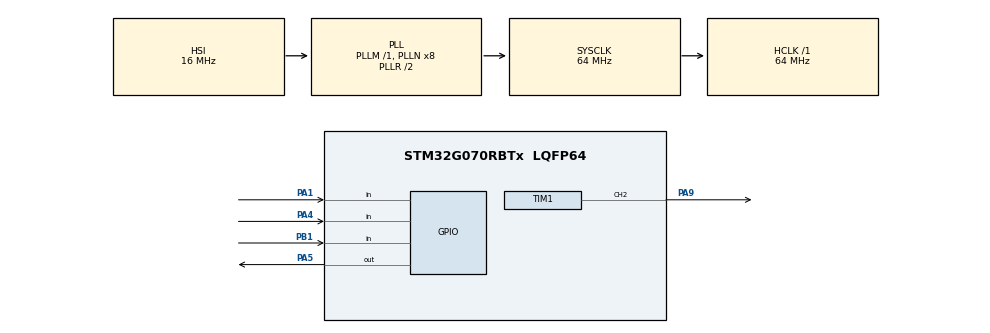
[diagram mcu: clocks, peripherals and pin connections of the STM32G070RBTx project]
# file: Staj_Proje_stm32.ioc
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Mcu.Family=STM32G0
Mcu.Name=STM32G070RBTx
Mcu.Package=LQFP64
PA1.GPIO_PuPd=GPIO_PULLUP
PA1.Signal=GPIO_Input
PA4.GPIO_PuPd=GPIO_PULLUP
PA4.Signal=GPIO_Input
PA5.Signal=GPIO_Output
PA9.Signal=S_TIM1_CH2
PB1.GPIO_PuPd=GPIO_PULLUP
PB1.Signal=GPIO_Input
ProjectManager.HeapSize=0x200
ProjectManager.StackSize=0x400
ProjectManager.TargetToolchain=STM32CubeIDE
RCC.ADCFreq_Value=64000000
RCC.AHBFreq_Value=64000000
RCC.CortexFreq_Value=64000000
RCC.EXTERNAL_CLOCK_VALUE=48000
RCC.HCLKFreq_Value=64000000
RCC.HSE_VALUE=8000000
RCC.HSI_VALUE=16000000
RCC.LSE_VALUE=32768
RCC.SYSCLKFreq_VALUE=64000000
RCC.SYSCLKSource=RCC_SYSCLKSOURCE_PLLCLK
RCC.VCOOutputFreq_Value=128000000
SH.S_TIM1_CH2.0=TIM1_CH2,PWM Generation2 CH2
TIM1.Channel-PWM\ Generation2\ CH2=TIM_CHANNEL_2
TIM1.Period=1000-1
TIM1.Prescaler=64000-1
TIM1.Pulse-PWM\ Generation2\ CH2=(1000-1)/2
VP_TIM1_VS_ClockSourceINT.Mode=Internal
board=custom

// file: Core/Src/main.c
/* USER CODE BEGIN Header */
/**
  ******************************************************************************
  * @file           : main.c
  * @brief          : Main program body
  ******************************************************************************
  * @attention
  *
  * Copyright (c) 2024 STMicroelectronics.
  * All rights reserved.
  *
  * This software is licensed under terms that can be found in the LICENSE file
  * in the root directory of this software component.
  * If no LICENSE file comes with this software, it is provided AS-IS.
  *
  ******************************************************************************
  */
/* USER CODE END Header */
#include "main.h"

/* USER CODE BEGIN Includes */
#define Max_Period 1000
#define Min_Period 50
#define Period_azaltma 50
/* USER CODE END Includes */

TIM_HandleTypeDef htim1;

/* USER CODE BEGIN PV */
//uint32_t period = Max_Period;

/* USER CODE END PV */

void SystemClock_Config(void);
static void MX_GPIO_Init(void);
static void MX_TIM1_Init(void);
/* USER CODE BEGIN PFP */
void Set_PWM_Period(uint32_t new_period);

/* USER CODE END PFP */

/* USER CODE BEGIN 0 */
uint32_t period = Max_Period;
uint32_t butonState;
uint32_t butonState2;
uint32_t butonReset;

/* USER CODE END 0 */

int main(void)
{

  /* MCU Configuration--------------------------------------------------------*/

  /* Reset of all peripherals, Initializes the Flash interface and the Systick. */
  HAL_Init();

  /* Configure the system clock */
  SystemClock_Config();

  /* Initialize all configured peripherals */
  MX_GPIO_Init();
  MX_TIM1_Init();
  /* USER CODE BEGIN 2 */
  //uint16_t duty_cycle=0;
  HAL_TIM_PWM_Start(&htim1, TIM_CHANNEL_2);
  Set_PWM_Period(period);

  /* USER CODE END 2 */

  /* Infinite loop */
  while (1)
  {

    /* USER CODE BEGIN 3 */
	  /*__HAL_TIM_SET_COMPARE(&htim1,TIM_CHANNEL_2,duty_cycle);
	  duty_cycle +=100;
	  if(duty_cycle ==6400)
	  {
		  duty_cycle =0;

	  }
	  HAL_Delay(10);*/

	  butonState2=HAL_GPIO_ReadPin(GPIOA, GPIO_PIN_4);
	  butonState=HAL_GPIO_ReadPin(GPIOA, GPIO_PIN_1);
	  butonReset=HAL_GPIO_ReadPin(GPIOB, GPIO_PIN_1);
	    if(butonState==0)
	    {
	    	HAL_Delay(40);
	    	if(butonState==0)
	    	{
	    		period-=Period_azaltma;

	    		Set_PWM_Period(period);

	    	}
	    	HAL_Delay(120);
	    }

	    else if(butonState2==0)
	    {
	    	HAL_Delay(40);
	    	if(butonState2==0)
	    	{
	    		period+=Period_azaltma;
	    		if(period>Max_Period)
	    		{
	    			period=Max_Period;

	    		}
		    	Set_PWM_Period(period);

	    	}
	    	HAL_Delay(120);

	    }
	    else if (butonReset == 0)
	    {
	        HAL_Delay(40); // Debouncing
	        if (HAL_GPIO_ReadPin(GPIOB, GPIO_PIN_1) == 0)
	        {
	        	NVIC_SystemReset();
	        }
	        HAL_Delay(125); // Ekstra gecikme
	    }

	    HAL_Delay(10);

  }
  /* USER CODE END 3 */
}

void SystemClock_Config(void)
{
  RCC_OscInitTypeDef RCC_OscInitStruct = {0};
  RCC_ClkInitTypeDef RCC_ClkInitStruct = {0};

  /** Configure the main internal regulator output voltage
  */
  HAL_PWREx_ControlVoltageScaling(PWR_REGULATOR_VOLTAGE_SCALE1);

  /** Initializes the RCC Oscillators according to the specified parameters
  * in the RCC_OscInitTypeDef structure.
  */
  RCC_OscInitStruct.OscillatorType = RCC_OSCILLATORTYPE_HSI;
  RCC_OscInitStruct.HSIState = RCC_HSI_ON;
  RCC_OscInitStruct.HSIDiv = RCC_HSI_DIV1;
  RCC_OscInitStruct.HSICalibrationValue = RCC_HSICALIBRATION_DEFAULT;
  RCC_OscInitStruct.PLL.PLLState = RCC_PLL_ON;
  RCC_OscInitStruct.PLL.PLLSource = RCC_PLLSOURCE_HSI;
  RCC_OscInitStruct.PLL.PLLM = RCC_PLLM_DIV1;
  RCC_OscInitStruct.PLL.PLLN = 8;
  RCC_OscInitStruct.PLL.PLLP = RCC_PLLP_DIV2;
  RCC_OscInitStruct.PLL.PLLR = RCC_PLLR_DIV2;
  if (HAL_RCC_OscConfig(&RCC_OscInitStruct) != HAL_OK)
  {
    Error_Handler();
  }

  /** Initializes the CPU, AHB and APB buses clocks
  */
  RCC_ClkInitStruct.ClockType = RCC_CLOCKTYPE_HCLK|RCC_CLOCKTYPE_SYSCLK
                              |RCC_CLOCKTYPE_PCLK1;
  RCC_ClkInitStruct.SYSCLKSource = RCC_SYSCLKSOURCE_PLLCLK;
  RCC_ClkInitStruct.AHBCLKDivider = RCC_SYSCLK_DIV1;
  RCC_ClkInitStruct.APB1CLKDivider = RCC_HCLK_DIV1;

  if (HAL_RCC_ClockConfig(&RCC_ClkInitStruct, FLASH_LATENCY_2) != HAL_OK)
  {
    Error_Handler();
  }
}

static void MX_TIM1_Init(void)
{

  TIM_ClockConfigTypeDef sClockSourceConfig = {0};
  TIM_MasterConfigTypeDef sMasterConfig = {0};
  TIM_OC_InitTypeDef sConfigOC = {0};
  TIM_BreakDeadTimeConfigTypeDef sBreakDeadTimeConfig = {0};

  htim1.Instance = TIM1;
  htim1.Init.Prescaler = 64000-1;
  htim1.Init.CounterMode = TIM_COUNTERMODE_UP;
  htim1.Init.Period = 1000-1;
  htim1.Init.ClockDivision = TIM_CLOCKDIVISION_DIV1;
  htim1.Init.RepetitionCounter = 0;
  htim1.Init.AutoReloadPreload = TIM_AUTORELOAD_PRELOAD_DISABLE;
  if (HAL_TIM_Base_Init(&htim1) != HAL_OK)
  {
    Error_Handler();
  }
  sClockSourceConfig.ClockSource = TIM_CLOCKSOURCE_INTERNAL;
  if (HAL_TIM_ConfigClockSource(&htim1, &sClockSourceConfig) != HAL_OK)
  {
    Error_Handler();
  }
  if (HAL_TIM_PWM_Init(&htim1) != HAL_OK)
  {
    Error_Handler();
  }
  sMasterConfig.MasterOutputTrigger = TIM_TRGO_RESET;
  sMasterConfig.MasterOutputTrigger2 = TIM_TRGO2_RESET;
  sMasterConfig.MasterSlaveMode = TIM_MASTERSLAVEMODE_DISABLE;
  if (HAL_TIMEx_MasterConfigSynchronization(&htim1, &sMasterConfig) != HAL_OK)
  {
    Error_Handler();
  }
  sConfigOC.OCMode = TIM_OCMODE_PWM1;
  sConfigOC.Pulse = (1000-1)/2;
  sConfigOC.OCPolarity = TIM_OCPOLARITY_HIGH;
  sConfigOC.OCNPolarity = TIM_OCNPOLARITY_HIGH;
  sConfigOC.OCFastMode = TIM_OCFAST_DISABLE;
  sConfigOC.OCIdleState = TIM_OCIDLESTATE_RESET;
  sConfigOC.OCNIdleState = TIM_OCNIDLESTATE_RESET;
  if (HAL_TIM_PWM_ConfigChannel(&htim1, &sConfigOC, TIM_CHANNEL_2) != HAL_OK)
  {
    Error_Handler();
  }
  sBreakDeadTimeConfig.OffStateRunMode = TIM_OSSR_DISABLE;
  sBreakDeadTimeConfig.OffStateIDLEMode = TIM_OSSI_DISABLE;
  sBreakDeadTimeConfig.LockLevel = TIM_LOCKLEVEL_OFF;
  sBreakDeadTimeConfig.DeadTime = 0;
  sBreakDeadTimeConfig.BreakState = TIM_BREAK_DISABLE;
  sBreakDeadTimeConfig.BreakPolarity = TIM_BREAKPOLARITY_HIGH;
  sBreakDeadTimeConfig.BreakFilter = 0;
  sBreakDeadTimeConfig.BreakAFMode = TIM_BREAK_AFMODE_INPUT;
  sBreakDeadTimeConfig.Break2State = TIM_BREAK2_DISABLE;
  sBreakDeadTimeConfig.Break2Polarity = TIM_BREAK2POLARITY_HIGH;
  sBreakDeadTimeConfig.Break2Filter = 0;
  sBreakDeadTimeConfig.Break2AFMode = TIM_BREAK_AFMODE_INPUT;
  sBreakDeadTimeConfig.AutomaticOutput = TIM_AUTOMATICOUTPUT_DISABLE;
  if (HAL_TIMEx_ConfigBreakDeadTime(&htim1, &sBreakDeadTimeConfig) != HAL_OK)
  {
    Error_Handler();
  }
  /* USER CODE BEGIN TIM1_Init 2 */
  HAL_TIM_Base_Start(&htim1);
  HAL_TIM_PWM_Start(&htim1, TIM_CHANNEL_2);
  //__HAL_TIM_SET_COMPARE(&htim1, TIM_CHANNEL_2,500);
  /* USER CODE END TIM1_Init 2 */
  HAL_TIM_MspPostInit(&htim1);

}

static void MX_GPIO_Init(void)
{
  GPIO_InitTypeDef GPIO_InitStruct = {0};

  /* GPIO Ports Clock Enable */
  __HAL_RCC_GPIOA_CLK_ENABLE();
  __HAL_RCC_GPIOB_CLK_ENABLE();

  /*Configure GPIO pin Output Level */
  HAL_GPIO_WritePin(GPIOA, GPIO_PIN_5, GPIO_PIN_RESET);

  /*Configure GPIO pins : PA1 PA4 */
  GPIO_InitStruct.Pin = GPIO_PIN_1|GPIO_PIN_4;
  GPIO_InitStruct.Mode = GPIO_MODE_INPUT;
  GPIO_InitStruct.Pull = GPIO_PULLUP;
  HAL_GPIO_Init(GPIOA, &GPIO_InitStruct);

  /*Configure GPIO pin : PA5 */
  GPIO_InitStruct.Pin = GPIO_PIN_5;
  GPIO_InitStruct.Mode = GPIO_MODE_OUTPUT_PP;
  GPIO_InitStruct.Pull = GPIO_NOPULL;
  GPIO_InitStruct.Speed = GPIO_SPEED_FREQ_LOW;
  HAL_GPIO_Init(GPIOA, &GPIO_InitStruct);

  /*Configure GPIO pin : PB1 */
  GPIO_InitStruct.Pin = GPIO_PIN_1;
  GPIO_InitStruct.Mode = GPIO_MODE_INPUT;
  GPIO_InitStruct.Pull = GPIO_PULLUP;
  HAL_GPIO_Init(GPIOB, &GPIO_InitStruct);

}

/* USER CODE BEGIN 4 */
void Set_PWM_Period(uint32_t new_period)
{

    uint32_t duty_cycle = new_period/2;

  __HAL_TIM_SET_AUTORELOAD(&htim1, new_period - 1);

  __HAL_TIM_SET_COMPARE(&htim1, TIM_CHANNEL_2, duty_cycle);

  //HAL_TIM_PWM_Stop(&htim1, TIM_CHANNEL_2);
  //HAL_TIM_PWM_Start(&htim1, TIM_CHANNEL_2);
}

/* USER CODE END 4 */

void Error_Handler(void)
{
  __disable_irq();
  while (1)
  {
  }
}
